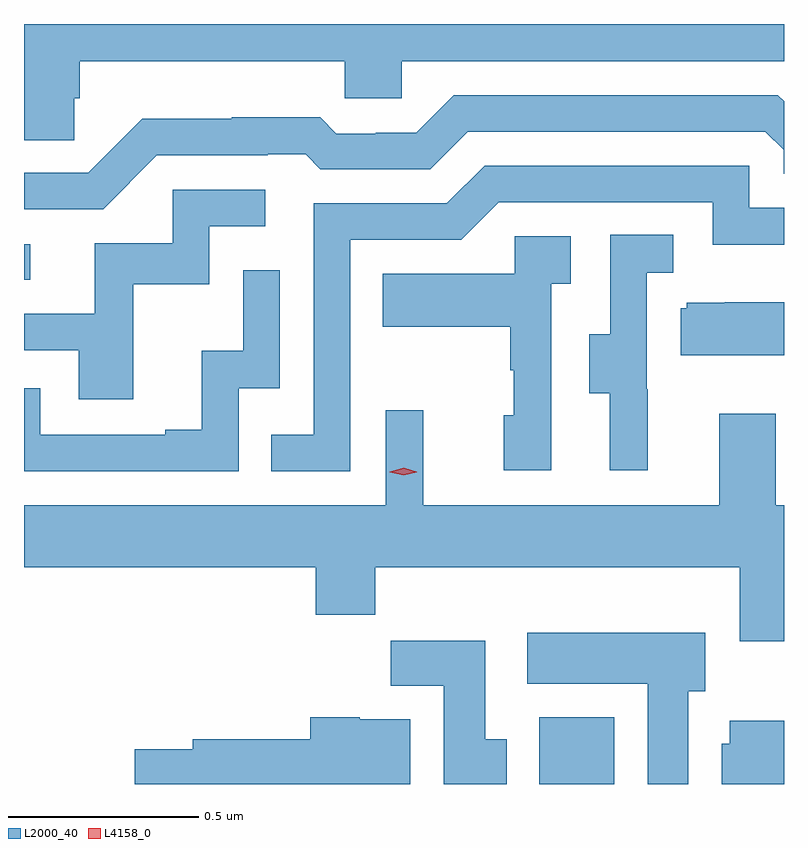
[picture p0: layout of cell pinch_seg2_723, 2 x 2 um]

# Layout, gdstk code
import gdstk
lib = gdstk.Library(unit=1e-6, precision=1e-09)
def R(c, l, rs):  # rectangles x0, y0, x1, y1
    for r in rs: c.add(gdstk.rectangle(r[:2], r[2:], *l))
def P(c, l, *ps):  # polygons
    for p in ps: c.add(gdstk.Polygon(p, *l))
L2000_40 = (2000, 40)
L4158_0 = (4158, 0)

pinch_seg2_723 = lib.new_cell('pinch_seg2_723')
R(pinch_seg2_723, L2000_40, [(1121.663,587.126,1121.86,587.302), (1120.307,588.453,1120.324,588.546)])
P(pinch_seg2_723, L2000_40, [(1120.439,588.93),(1120.454,588.93),(1120.454,589.028),(1121.151,589.028),(1121.151,588.93),(1121.301,588.93),(1121.301,589.028),(1122.307,589.028),(1122.307,589.126),(1120.307,589.126),(1120.307,588.82),(1120.439,588.82)],
  [(1120.656,588.78),(1120.949,588.78),(1120.949,588.783),(1121.048,588.783),(1121.087,588.744),(1121.376,588.744),(1121.475,588.843),(1122.258,588.843),(1122.306,588.795),(1122.306,588.732),(1122.307,588.732),(1122.307,588.923),(1122.291,588.939),(1121.438,588.939),(1121.339,588.84),(1121.232,588.84),(1121.232,588.837),(1121.129,588.837),(1121.087,588.88),(1120.854,588.88),(1120.854,588.877),(1120.618,588.877),(1120.476,588.735),(1120.307,588.735),(1120.307,588.639),(1120.515,588.639)],
  [(1121.166,588.558),(1121.457,588.558),(1121.556,588.657),(1122.12,588.657),(1122.12,588.545),(1122.307,588.545),(1122.307,588.642),(1122.216,588.642),(1122.216,588.753),(1121.519,588.753),(1121.42,588.654),(1121.07,588.654),(1121.07,588.045),(1120.957,588.045),(1120.957,587.949),(1121.166,587.949)],
  [(1120.595,588.441),(1120.794,588.441),(1120.794,588.594),(1120.942,588.594),(1120.942,588.69),(1120.698,588.69),(1120.698,588.549),(1120.493,588.549),(1120.493,588.363),(1120.307,588.363),(1120.307,588.267),(1120.451,588.267),(1120.451,588.138),(1120.595,588.138)],
  [(1121.948,588.165),(1121.946,588.165),(1121.946,588.471),(1122.016,588.471),(1122.016,588.572),(1121.85,588.572),(1121.85,588.309),(1121.795,588.309),(1121.795,588.154),(1121.849,588.154),(1121.849,587.952),(1121.948,587.952)],
  [(1121.694,588.443),(1121.746,588.443),(1121.746,588.567),(1121.598,588.567),(1121.598,588.469),(1121.251,588.469),(1121.251,588.329),(1121.586,588.329),(1121.586,588.215),(1121.596,588.215),(1121.596,588.096),(1121.57,588.096),(1121.57,587.952),(1121.694,587.952)],
  [(1120.872,588.168),(1120.98,588.168),(1120.98,588.478),(1120.884,588.478),(1120.884,588.266),(1120.775,588.266),(1120.775,588.058),(1120.679,588.058),(1120.679,588.045),(1120.35,588.045),(1120.35,588.168),(1120.307,588.168),(1120.307,587.949),(1120.872,587.949)],
  [(1122.307,588.394),(1122.151,588.394),(1122.151,588.393),(1122.051,588.393),(1122.051,588.378),(1122.035,588.378),(1122.035,588.254),(1122.307,588.254)],
  [(1121.259,588.109),(1121.259,587.86),(1120.307,587.86),(1120.307,587.696),(1121.075,587.696),(1121.075,587.572),(1121.231,587.572),(1121.231,587.696),(1122.191,587.696),(1122.191,587.502),(1122.307,587.502),(1122.307,587.86),(1122.285,587.86),(1122.285,588.1),(1122.137,588.1),(1122.137,587.86),(1121.357,587.86),(1121.357,588.109)],
  [(1122.055,587.37),(1122.1,587.37),(1122.1,587.524),(1121.631,587.524),(1121.631,587.39),(1121.948,587.39),(1121.948,587.126),(1122.055,587.126)],
  [(1121.578,587.244),(1121.521,587.244),(1121.521,587.503),(1121.272,587.503),(1121.272,587.384),(1121.411,587.384),(1121.411,587.126),(1121.578,587.126)],
  [(1121.323,587.296),(1121.19,587.296),(1121.19,587.302),(1121.06,587.302),(1121.06,587.244),(1120.751,587.244),(1120.751,587.218),(1120.598,587.218),(1120.598,587.126),(1121.323,587.126)],
  [(1122.307,587.293),(1122.164,587.293),(1122.164,587.232),(1122.143,587.232),(1122.143,587.126),(1122.307,587.126)])
P(pinch_seg2_723, L4158_0, [(1121.306,587.938),(1121.27,587.947),(1121.27,587.948),(1121.27,587.948),(1121.306,587.958),(1121.341,587.948),(1121.341,587.948),(1121.341,587.947)])

lib.write_gds('pinch_seg2_723.gds')
